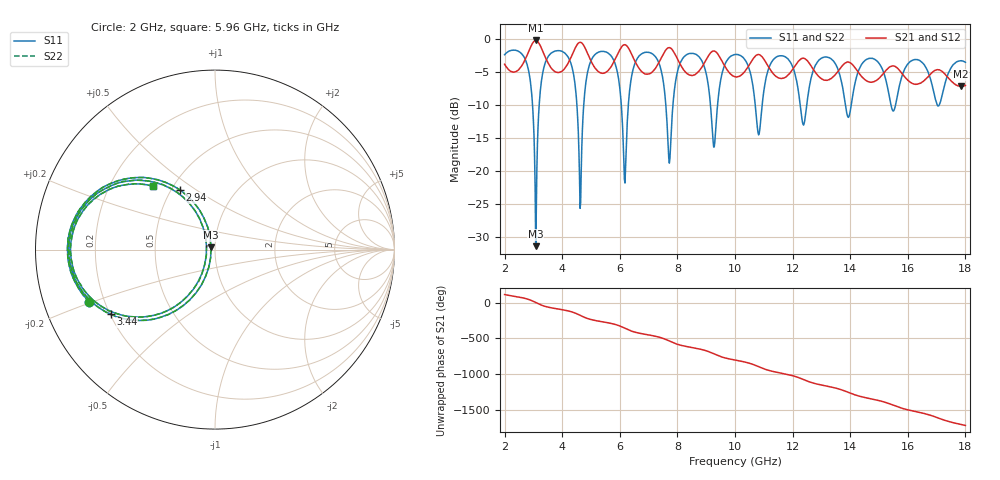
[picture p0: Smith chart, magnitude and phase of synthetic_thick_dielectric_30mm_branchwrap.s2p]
! SYNTHETIC DEMONSTRATION DATA - generated by examples/make_synthetic_s2p.py (nrw.forward ABCD cascade)
! eps model: Debye(eps_inf=10.0, delta=0.5, f_relax=30000000000.0, sigma_dc=0.0)
! mu model: 1.0
! length_m: 0.03
! geometry: 7 mm coax (TEM)
! noise: circular complex Gaussian, rms 1e-3, seed 2026
# HZ S RI R 50
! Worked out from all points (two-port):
!   801 points, 2 GHz to 18 GHz, reference 50 ohm
!   highest |S21| = -0.24 dB at 3.08 GHz (marker M1); lowest = -7.2 dB at 17.84 GHz (marker M2)
!   |S21| within 3 dB of the highest: 2.7 GHz to 3.461 GHz (761.7 MHz wide, 24.7 % of centre); 4.257 GHz to 4.988 GHz (731.4 MHz wide, 15.8 % of centre)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
!   lowest |S11| = -31.4 dB at 3.08 GHz (marker M3), VSWR 1.06, Z = 47.7 + j1.29 ohm
!   |S11| at or under -10 dB: 2.969 GHz to 3.201 GHz (231.5 MHz wide, 7.5 % of centre); 4.51 GHz to 4.747 GHz (237.9 MHz wide, 5.14 % of centre); 7.598 GHz to 7.845 GHz (246.9 MHz wide, 3.2 % of centre)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
!   |S22| runs from -31.9 to -1.7 dB; largest |S21 - S12| = 0.0038
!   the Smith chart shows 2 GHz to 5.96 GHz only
!   S11 on the Smith chart (normalised r, x): 2 GHz: 0.14, -0.20; 2.94 GHz: 0.55, +0.43; 3.44 GHz: 0.20, -0.27; 5.96 GHz: 0.39, +0.37
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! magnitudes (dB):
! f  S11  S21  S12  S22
! 2 GHz  -2.4  -3.8  -3.8  -2.4
! 2.94 GHz  -8.3  -0.9  -0.9  -8.3
! 3.08 GHz  -31.4  -0.2  -0.2  -31.9
! 3.44 GHz  -3.3  -3.1  -3.0  -3.3
! 4.26 GHz  -3.2  -3.2  -3.2  -3.2
! 4.68 GHz  -16.4  -0.6  -0.6  -16.5
! 5.04 GHz  -2.9  -3.7  -3.7  -2.9
! 5.96 GHz  -6.1  -2.0  -2.0  -6.1
! 6.18 GHz  -21.8  -0.9  -0.9  -22.0
! 6.52 GHz  -3.8  -3.3  -3.3  -3.8
! 7.34 GHz  -3.5  -3.7  -3.7  -3.5
! 7.72 GHz  -18.8  -1.3  -1.3  -18.8
! 8.2 GHz  -2.9  -4.6  -4.6  -2.9
! 9.28 GHz  -16.3  -1.8  -1.8  -16.3
! 10 GHz  -2.4  -5.7  -5.7  -2.4
! 10.82 GHz  -14.5  -2.4  -2.4  -14.5
! 11.38 GHz  -2.9  -5.5  -5.5  -2.9
! 12.38 GHz  -13.1  -2.9  -2.9  -13.0
! 12.68 GHz  -5.3  -4.3  -4.4  -5.3
! 15.34 GHz  -8.3  -4.3  -4.3  -8.3
! 17.84 GHz  -3.3  -7.2  -7.2  -3.3
! 18 GHz  -3.5  -7.0  -7.1  -3.5
